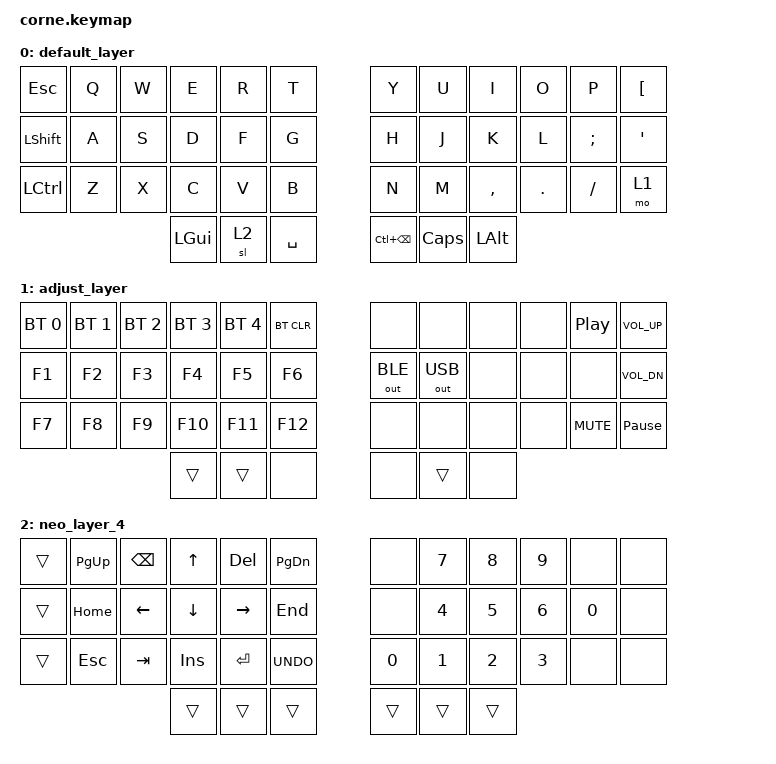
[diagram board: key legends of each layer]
/*
 * Copyright (c) 2020 The ZMK Contributors
 *
 * SPDX-License-Identifier: MIT
 */

#include <behaviors.dtsi>
#include <dt-bindings/zmk/keys.h>
#include <dt-bindings/zmk/bt.h>
#include <dt-bindings/zmk/outputs.h>

&sl {
    release-after-ms = <250>;
};

&sk {
    quick-release;
};

/ {
    keymap {
        compatible = "zmk,keymap";

        default_layer {
            bindings = <
  &kp ESC  &kp Q  &kp W     &kp E      &kp R      &kp T       &kp Y     &kp U      &kp I    &kp O     &kp P  &kp LBKT
 &kp LSHFT  &kp A  &kp S     &kp D      &kp F      &kp G       &kp H     &kp J      &kp K    &kp L  &kp SEMI  &kp SQT
&kp LCTRL  &kp Z  &kp X     &kp C      &kp V      &kp B       &kp N     &kp M  &kp COMMA  &kp DOT  &kp FSLH  &mo 1
                         &kp LGUI  &sl 2  &kp SPACE       &kp LC(BSPC)  &kp CAPS  &kp LALT
            >;
        };

        adjust_layer {
            bindings = <
&bt BT_SEL 0  &bt BT_SEL 1  &bt BT_SEL 2  &bt BT_SEL 3  &bt BT_SEL 4  &bt BT_CLR      &none         &none         &none  &none  &kp C_PP    &kp C_VOL_UP
&kp F1        &kp F2        &kp F3        &kp F4        &kp F5        &kp F6          &out OUT_BLE  &out OUT_USB  &none  &none  &none       &kp C_VOL_DN
&kp F7        &kp F8        &kp F9        &kp F10       &kp F11       &kp F12         &none         &none         &none  &none  &kp C_MUTE  &kp PAUSE_BREAK
                                                       &trans    &trans    &none      &none         &trans        &none
            >;
        };

        neo_layer_4 {
            bindings = <
&trans &kp PG_UP &kp BSPC &kp UP     &kp DEL   &kp PG_DN      &none  &kp N7  &kp N8  &kp N9  &none  &none
&trans &kp HOME  &kp LEFT &kp DOWN   &kp RIGHT &kp END        &none  &kp N4  &kp N5  &kp N6  &kp N0 &none
&trans &kp ESC   &kp TAB  &kp INSERT &kp ENTER &kp K_UNDO     &kp N0 &kp N1  &kp N2  &kp N3  &none  &none
                                   &trans  &trans  &trans     &trans    &trans     &trans
            >;
        };
    };
};
